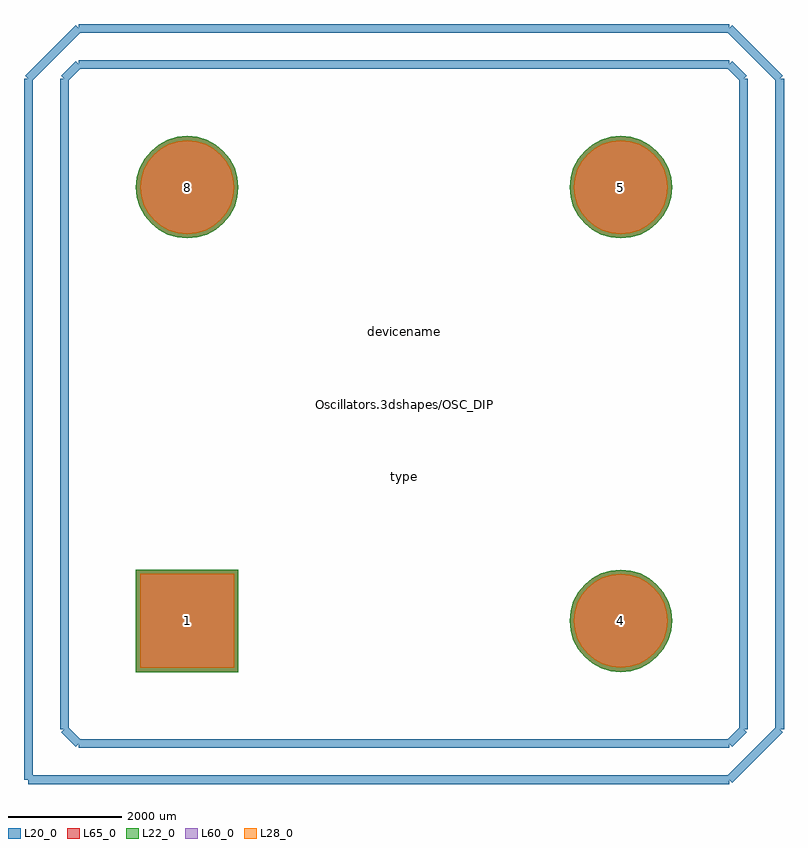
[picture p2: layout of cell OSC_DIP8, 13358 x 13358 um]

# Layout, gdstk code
import gdstk
lib = gdstk.Library(unit=1e-6, precision=1e-09)
def R(c, l, rs):  # rectangles x0, y0, x1, y1
    for r in rs: c.add(gdstk.rectangle(r[:2], r[2:], *l))
def P(c, l, *ps):  # polygons
    for p in ps: c.add(gdstk.Polygon(p, *l))
L20_0 = (20, 0)
L22_0 = (22, 0)
L28_0 = (28, 0)
L60_0 = (60, 0)
L65_0 = (65, 0)

osc_dip8 = lib.new_cell('OSC_DIP8')
R(osc_dip8, L22_0, [(-4710.5,-4710.5,-2909.5,-2909.5)])
P(osc_dip8, L22_0, [(4710.5,-3810),(4693.197,-3634.321),(4641.954,-3465.394),(4558.738,-3309.709),(4446.75,-3173.25),(4310.291,-3061.262),(4154.606,-2978.046),(3985.679,-2926.803),(3810,-2909.5),(3634.321,-2926.803),(3465.394,-2978.046),(3309.709,-3061.262),(3173.25,-3173.25),(3061.262,-3309.709),(2978.046,-3465.394),(2926.803,-3634.321),(2909.5,-3810),(2926.803,-3985.679),(2978.046,-4154.606),(3061.262,-4310.291),(3173.25,-4446.75),(3309.709,-4558.738),(3465.394,-4641.954),(3634.321,-4693.197),(3810,-4710.5),(3985.679,-4693.197),(4154.606,-4641.954),(4310.291,-4558.738),(4446.75,-4446.75),(4558.738,-4310.291),(4641.954,-4154.606),(4693.197,-3985.679)],
  [(4710.5,3810),(4693.197,3985.679),(4641.954,4154.606),(4558.738,4310.291),(4446.75,4446.75),(4310.291,4558.738),(4154.606,4641.954),(3985.679,4693.197),(3810,4710.5),(3634.321,4693.197),(3465.394,4641.954),(3309.709,4558.738),(3173.25,4446.75),(3061.262,4310.291),(2978.046,4154.606),(2926.803,3985.679),(2909.5,3810),(2926.803,3634.321),(2978.046,3465.394),(3061.262,3309.709),(3173.25,3173.25),(3309.709,3061.262),(3465.394,2978.046),(3634.321,2926.803),(3810,2909.5),(3985.679,2926.803),(4154.606,2978.046),(4310.291,3061.262),(4446.75,3173.25),(4558.738,3309.709),(4641.954,3465.394),(4693.197,3634.321)],
  [(-2909.5,3810),(-2926.803,3985.679),(-2978.046,4154.606),(-3061.262,4310.291),(-3173.25,4446.75),(-3309.709,4558.738),(-3465.394,4641.954),(-3634.321,4693.197),(-3810,4710.5),(-3985.679,4693.197),(-4154.606,4641.954),(-4310.291,4558.738),(-4446.75,4446.75),(-4558.738,4310.291),(-4641.954,4154.606),(-4693.197,3985.679),(-4710.5,3810),(-4693.197,3634.321),(-4641.954,3465.394),(-4558.738,3309.709),(-4446.75,3173.25),(-4310.291,3061.262),(-4154.606,2978.046),(-3985.679,2926.803),(-3810,2909.5),(-3634.321,2926.803),(-3465.394,2978.046),(-3309.709,3061.262),(-3173.25,3173.25),(-3061.262,3309.709),(-2978.046,3465.394),(-2926.803,3634.321)])
R(osc_dip8, L28_0, [(-4635.5,-4635.5,-2984.5,-2984.5)])
P(osc_dip8, L28_0, [(4635.5,-3810),(4619.638,-3648.953),(4572.663,-3494.095),(4496.378,-3351.377),(4393.717,-3226.283),(4268.623,-3123.622),(4125.905,-3047.337),(3971.047,-3000.362),(3810,-2984.5),(3648.953,-3000.362),(3494.095,-3047.337),(3351.377,-3123.622),(3226.283,-3226.283),(3123.622,-3351.377),(3047.337,-3494.095),(3000.362,-3648.953),(2984.5,-3810),(3000.362,-3971.047),(3047.337,-4125.905),(3123.622,-4268.623),(3226.283,-4393.717),(3351.377,-4496.378),(3494.095,-4572.663),(3648.953,-4619.638),(3810,-4635.5),(3971.047,-4619.638),(4125.905,-4572.663),(4268.623,-4496.378),(4393.717,-4393.717),(4496.378,-4268.623),(4572.663,-4125.905),(4619.638,-3971.047)],
  [(4635.5,3810),(4619.638,3971.047),(4572.663,4125.905),(4496.378,4268.623),(4393.717,4393.717),(4268.623,4496.378),(4125.905,4572.663),(3971.047,4619.638),(3810,4635.5),(3648.953,4619.638),(3494.095,4572.663),(3351.377,4496.378),(3226.283,4393.717),(3123.622,4268.623),(3047.337,4125.905),(3000.362,3971.047),(2984.5,3810),(3000.362,3648.953),(3047.337,3494.095),(3123.622,3351.377),(3226.283,3226.283),(3351.377,3123.622),(3494.095,3047.337),(3648.953,3000.362),(3810,2984.5),(3971.047,3000.362),(4125.905,3047.337),(4268.623,3123.622),(4393.717,3226.283),(4496.378,3351.377),(4572.663,3494.095),(4619.638,3648.953)],
  [(-2984.5,3810),(-3000.362,3971.047),(-3047.337,4125.905),(-3123.622,4268.623),(-3226.283,4393.717),(-3351.377,4496.378),(-3494.095,4572.663),(-3648.953,4619.638),(-3810,4635.5),(-3971.047,4619.638),(-4125.905,4572.663),(-4268.623,4496.378),(-4393.717,4393.717),(-4496.378,4268.623),(-4572.663,4125.905),(-4619.638,3971.047),(-4635.5,3810),(-4619.638,3648.953),(-4572.663,3494.095),(-4496.378,3351.377),(-4393.717,3226.283),(-4268.623,3123.622),(-4125.905,3047.337),(-3971.047,3000.362),(-3810,2984.5),(-3648.953,3000.362),(-3494.095,3047.337),(-3351.377,3123.622),(-3226.283,3226.283),(-3123.622,3351.377),(-3047.337,3494.095),(-3000.362,3648.953)])
R(osc_dip8, L60_0, [(-4635.5,-4635.5,-2984.5,-2984.5)])
P(osc_dip8, L60_0, [(4635.5,-3810),(4619.638,-3648.953),(4572.663,-3494.095),(4496.378,-3351.377),(4393.717,-3226.283),(4268.623,-3123.622),(4125.905,-3047.337),(3971.047,-3000.362),(3810,-2984.5),(3648.953,-3000.362),(3494.095,-3047.337),(3351.377,-3123.622),(3226.283,-3226.283),(3123.622,-3351.377),(3047.337,-3494.095),(3000.362,-3648.953),(2984.5,-3810),(3000.362,-3971.047),(3047.337,-4125.905),(3123.622,-4268.623),(3226.283,-4393.717),(3351.377,-4496.378),(3494.095,-4572.663),(3648.953,-4619.638),(3810,-4635.5),(3971.047,-4619.638),(4125.905,-4572.663),(4268.623,-4496.378),(4393.717,-4393.717),(4496.378,-4268.623),(4572.663,-4125.905),(4619.638,-3971.047)],
  [(4635.5,3810),(4619.638,3971.047),(4572.663,4125.905),(4496.378,4268.623),(4393.717,4393.717),(4268.623,4496.378),(4125.905,4572.663),(3971.047,4619.638),(3810,4635.5),(3648.953,4619.638),(3494.095,4572.663),(3351.377,4496.378),(3226.283,4393.717),(3123.622,4268.623),(3047.337,4125.905),(3000.362,3971.047),(2984.5,3810),(3000.362,3648.953),(3047.337,3494.095),(3123.622,3351.377),(3226.283,3226.283),(3351.377,3123.622),(3494.095,3047.337),(3648.953,3000.362),(3810,2984.5),(3971.047,3000.362),(4125.905,3047.337),(4268.623,3123.622),(4393.717,3226.283),(4496.378,3351.377),(4572.663,3494.095),(4619.638,3648.953)],
  [(-2984.5,3810),(-3000.362,3971.047),(-3047.337,4125.905),(-3123.622,4268.623),(-3226.283,4393.717),(-3351.377,4496.378),(-3494.095,4572.663),(-3648.953,4619.638),(-3810,4635.5),(-3971.047,4619.638),(-4125.905,4572.663),(-4268.623,4496.378),(-4393.717,4393.717),(-4496.378,4268.623),(-4572.663,4125.905),(-4619.638,3971.047),(-4635.5,3810),(-4619.638,3648.953),(-4572.663,3494.095),(-4496.378,3351.377),(-4393.717,3226.283),(-4268.623,3123.622),(-4125.905,3047.337),(-3971.047,3000.362),(-3810,2984.5),(-3648.953,3000.362),(-3494.095,3047.337),(-3351.377,3123.622),(-3226.283,3226.283),(-3123.622,3351.377),(-3047.337,3494.095),(-3000.362,3648.953)])
R(osc_dip8, L65_0, [(-4710.5,-4710.5,-2909.5,-2909.5)])
P(osc_dip8, L65_0, [(4710.5,-3810),(4693.197,-3634.321),(4641.954,-3465.394),(4558.738,-3309.709),(4446.75,-3173.25),(4310.291,-3061.262),(4154.606,-2978.046),(3985.679,-2926.803),(3810,-2909.5),(3634.321,-2926.803),(3465.394,-2978.046),(3309.709,-3061.262),(3173.25,-3173.25),(3061.262,-3309.709),(2978.046,-3465.394),(2926.803,-3634.321),(2909.5,-3810),(2926.803,-3985.679),(2978.046,-4154.606),(3061.262,-4310.291),(3173.25,-4446.75),(3309.709,-4558.738),(3465.394,-4641.954),(3634.321,-4693.197),(3810,-4710.5),(3985.679,-4693.197),(4154.606,-4641.954),(4310.291,-4558.738),(4446.75,-4446.75),(4558.738,-4310.291),(4641.954,-4154.606),(4693.197,-3985.679)],
  [(4710.5,3810),(4693.197,3985.679),(4641.954,4154.606),(4558.738,4310.291),(4446.75,4446.75),(4310.291,4558.738),(4154.606,4641.954),(3985.679,4693.197),(3810,4710.5),(3634.321,4693.197),(3465.394,4641.954),(3309.709,4558.738),(3173.25,4446.75),(3061.262,4310.291),(2978.046,4154.606),(2926.803,3985.679),(2909.5,3810),(2926.803,3634.321),(2978.046,3465.394),(3061.262,3309.709),(3173.25,3173.25),(3309.709,3061.262),(3465.394,2978.046),(3634.321,2926.803),(3810,2909.5),(3985.679,2926.803),(4154.606,2978.046),(4310.291,3061.262),(4446.75,3173.25),(4558.738,3309.709),(4641.954,3465.394),(4693.197,3634.321)],
  [(-2909.5,3810),(-2926.803,3985.679),(-2978.046,4154.606),(-3061.262,4310.291),(-3173.25,4446.75),(-3309.709,4558.738),(-3465.394,4641.954),(-3634.321,4693.197),(-3810,4710.5),(-3985.679,4693.197),(-4154.606,4641.954),(-4310.291,4558.738),(-4446.75,4446.75),(-4558.738,4310.291),(-4641.954,4154.606),(-4693.197,3985.679),(-4710.5,3810),(-4693.197,3634.321),(-4641.954,3465.394),(-4558.738,3309.709),(-4446.75,3173.25),(-4310.291,3061.262),(-4154.606,2978.046),(-3985.679,2926.803),(-3810,2909.5),(-3634.321,2926.803),(-3465.394,2978.046),(-3309.709,3061.262),(-3173.25,3173.25),(-3061.262,3309.709),(-2978.046,3465.394),(-2926.803,3634.321)])
osc_dip8.add(gdstk.FlexPath([(5715,6604),(-5715,6604)], 149.998, ends="flush", simple_path=True, layer=20, datatype=0))  # L20_0
osc_dip8.add(gdstk.FlexPath([(6604,5715),(5715,6604)], 149.998, ends="flush", simple_path=True, layer=20, datatype=0))  # L20_0
osc_dip8.add(gdstk.FlexPath([(6604,-5715),(6604,5715)], 149.998, ends="flush", simple_path=True, layer=20, datatype=0))  # L20_0
osc_dip8.add(gdstk.FlexPath([(5715,-6604),(6604,-5715)], 149.998, ends="flush", simple_path=True, layer=20, datatype=0))  # L20_0
osc_dip8.add(gdstk.FlexPath([(-6604,-6604),(5715,-6604)], 149.998, ends="flush", simple_path=True, layer=20, datatype=0))  # L20_0
osc_dip8.add(gdstk.FlexPath([(-6604,5715),(-6604,-6604)], 149.998, ends="flush", simple_path=True, layer=20, datatype=0))  # L20_0
osc_dip8.add(gdstk.FlexPath([(-5715,6604),(-6604,5715)], 149.998, ends="flush", simple_path=True, layer=20, datatype=0))  # L20_0
osc_dip8.add(gdstk.FlexPath([(5715,5969),(-5715,5969)], 149.998, ends="flush", simple_path=True, layer=20, datatype=0))  # L20_0
osc_dip8.add(gdstk.FlexPath([(5969,5715),(5715,5969)], 149.998, ends="flush", simple_path=True, layer=20, datatype=0))  # L20_0
osc_dip8.add(gdstk.FlexPath([(5969,-5715),(5969,5715)], 149.998, ends="flush", simple_path=True, layer=20, datatype=0))  # L20_0
osc_dip8.add(gdstk.FlexPath([(5715,-5969),(5969,-5715)], 149.998, ends="flush", simple_path=True, layer=20, datatype=0))  # L20_0
osc_dip8.add(gdstk.FlexPath([(-5715,-5969),(5715,-5969)], 149.998, ends="flush", simple_path=True, layer=20, datatype=0))  # L20_0
osc_dip8.add(gdstk.FlexPath([(-5969,-5715),(-5715,-5969)], 149.998, ends="flush", simple_path=True, layer=20, datatype=0))  # L20_0
osc_dip8.add(gdstk.FlexPath([(-5969,5715),(-5969,-5715)], 149.998, ends="flush", simple_path=True, layer=20, datatype=0))  # L20_0
osc_dip8.add(gdstk.FlexPath([(-5715,5969),(-5969,5715)], 149.998, ends="flush", simple_path=True, layer=20, datatype=0))  # L20_0
osc_dip8.add(gdstk.Label('Oscillators.3dshapes/OSC_DIP8.wrl', (0,0), layer=12, texttype=0))
osc_dip8.add(gdstk.Label('4', (3810,-3810), layer=28, texttype=0))
osc_dip8.add(gdstk.Label('5', (3810,3810), layer=28, texttype=0))
osc_dip8.add(gdstk.Label('8', (-3810,3810), layer=28, texttype=0))
osc_dip8.add(gdstk.Label('1', (-3810,-3810), layer=28, texttype=0))
osc_dip8.add(gdstk.Label('type', (0,-1270), layer=9, texttype=0))
osc_dip8.add(gdstk.Label('devicename', (0,1270), layer=9, texttype=0))

lib.write_gds('OSC_DIP8.gds')
